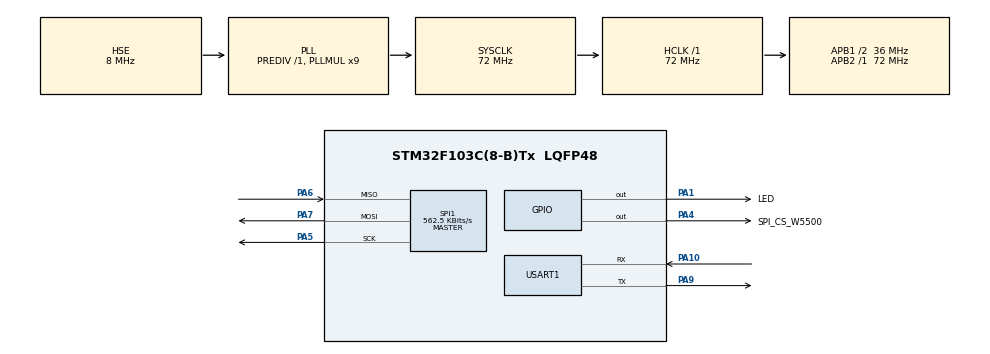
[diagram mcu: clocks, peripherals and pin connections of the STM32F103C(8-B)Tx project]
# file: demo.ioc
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Mcu.Family=STM32F1
Mcu.Name=STM32F103C(8-B)Tx
Mcu.Package=LQFP48
NVIC.PriorityGroup=NVIC_PRIORITYGROUP_4
PA1.GPIO_Label=LED
PA1.GPIO_PuPd=GPIO_PULLUP
PA1.GPIO_Speed=GPIO_SPEED_FREQ_HIGH
PA1.Signal=GPIO_Output
PA10.Mode=Asynchronous
PA10.Signal=USART1_RX
PA13.Mode=Serial_Wire
PA13.Signal=SYS_JTMS-SWDIO
PA14.Mode=Serial_Wire
PA14.Signal=SYS_JTCK-SWCLK
PA4.GPIO_Label=SPI_CS_W5500
PA4.GPIO_PuPd=GPIO_PULLUP
PA4.GPIO_Speed=GPIO_SPEED_FREQ_HIGH
PA4.Signal=GPIO_Output
PA5.GPIO_Mode=GPIO_MODE_AF_PP
PA5.GPIO_Speed=GPIO_SPEED_FREQ_HIGH
PA5.Mode=Full_Duplex_Master
PA5.Signal=SPI1_SCK
PA6.GPIO_PuPd=GPIO_PULLUP
PA6.Mode=Full_Duplex_Master
PA6.Signal=SPI1_MISO
PA7.GPIO_Mode=GPIO_MODE_AF_PP
PA7.GPIO_Speed=GPIO_SPEED_FREQ_HIGH
PA7.Mode=Full_Duplex_Master
PA7.Signal=SPI1_MOSI
PA9.Mode=Asynchronous
PA9.Signal=USART1_TX
PD0-OSC_IN.Mode=HSE-External-Oscillator
PD0-OSC_IN.Signal=RCC_OSC_IN
PD1-OSC_OUT.Mode=HSE-External-Oscillator
PD1-OSC_OUT.Signal=RCC_OSC_OUT
ProjectManager.HeapSize=0x800
ProjectManager.StackSize=0x800
ProjectManager.TargetToolchain=MDK-ARM V5
RCC.AHBFreq_Value=72000000
RCC.APB1CLKDivider=RCC_HCLK_DIV2
RCC.APB1Freq_Value=36000000
RCC.APB1TimFreq_Value=72000000
RCC.APB2Freq_Value=72000000
RCC.APB2TimFreq_Value=72000000
RCC.HCLKFreq_Value=72000000
RCC.PLLMUL=RCC_PLL_MUL9
RCC.PLLSourceVirtual=RCC_PLLSOURCE_HSE
RCC.SYSCLKFreq_VALUE=72000000
RCC.SYSCLKSource=RCC_SYSCLKSOURCE_PLLCLK
RCC.USBFreq_Value=48000000
RCC.USBPrescaler=RCC_USBCLKSOURCE_PLL_DIV1_5
SPI1.BaudRatePrescaler=SPI_BAUDRATEPRESCALER_128
SPI1.CLKPhase=SPI_PHASE_2EDGE
SPI1.CLKPolarity=SPI_POLARITY_HIGH
SPI1.CalculateBaudRate=562.5 KBits/s
SPI1.Direction=SPI_DIRECTION_2LINES
SPI1.Mode=SPI_MODE_MASTER
SPI1.VirtualType=VM_MASTER
USART1.VirtualMode=VM_ASYNC
board=custom

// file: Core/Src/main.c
/* USER CODE BEGIN Header */
/**
 ******************************************************************************
 * @file           : main.c
 * @brief          : Main program body
 ******************************************************************************
 * @attention
 *
 * Copyright (c) 2024 STMicroelectronics.
 * All rights reserved.
 *
 * This software is licensed under terms that can be found in the LICENSE file
 * in the root directory of this software component.
 * If no LICENSE file comes with this software, it is provided AS-IS.
 *
 ******************************************************************************
 */
/* USER CODE END Header */
#include "main.h"

/* USER CODE BEGIN Includes */
#include <stdio.h>
#include "string.h"
#include "socket.h"
#include "dhcp.h"

/* USER CODE END Includes */

/* USER CODE BEGIN PD */
#ifndef DATA_BUF_SIZE
#define DATA_BUF_SIZE 2048
#endif

#define LOOPBACK_MAIN_NOBLOCK 0
#define LOOPBACK_MODE         LOOPBACK_MAIN_NOBLOCK

/* USER CODE END PD */

SPI_HandleTypeDef hspi1;

UART_HandleTypeDef huart1;

/* USER CODE BEGIN PV */
uint8_t     destip[4] = {192, 168, 137, 1};
uint16_t    destport  = 3333;
uint8_t     rxbuf[DATA_BUF_SIZE]= {0};
uint8_t     txbuf[1024] = {0};
wiz_NetInfo gWIZNETINFO;
/* USER CODE END PV */

void        SystemClock_Config(void);
static void MX_GPIO_Init(void);
static void MX_USART1_UART_Init(void);
static void MX_SPI1_Init(void);

/* USER CODE BEGIN 0 */

void Load_Net_Parameters(void)
{
    gWIZNETINFO.gw[0] = 192;  // Gateway
    gWIZNETINFO.gw[1] = 168;
    gWIZNETINFO.gw[2] = 137;
    gWIZNETINFO.gw[3] = 1;

    gWIZNETINFO.sn[0] = 255;  // Mask
    gWIZNETINFO.sn[1] = 255;
    gWIZNETINFO.sn[2] = 255;
    gWIZNETINFO.sn[3] = 0;

    gWIZNETINFO.mac[0] = 0x0c;  // MAC
    gWIZNETINFO.mac[1] = 0x29;
    gWIZNETINFO.mac[2] = 0xab;
    gWIZNETINFO.mac[3] = 0x7c;
    gWIZNETINFO.mac[4] = 0x00;
    gWIZNETINFO.mac[5] = 0x01;

    gWIZNETINFO.ip[0] = 192;  // IP
    gWIZNETINFO.ip[1] = 168;
    gWIZNETINFO.ip[2] = 137;
    gWIZNETINFO.ip[3] = 204;

    gWIZNETINFO.dhcp = NETINFO_STATIC;
}

int32_t loopback_tcpc(uint8_t sn, uint8_t* buf, uint8_t* destip, uint16_t destport)
{
    int32_t  ret;  // return value for SOCK_ERRORs
    uint16_t size = 0, sentsize = 0;

    // Destination (TCP Server) IP info (will be connected)
    // >> loopback_tcpc() function parameter
    // >> Ex)
    //	uint8_t destip[4] = 	{192, 168, 0, 214};
    //	uint16_t destport = 	5000;

    // Port number for TCP client (will be increased)
    static uint16_t any_port = 50000;

    // Socket Status Transitions
    // Check the W5500 Socket n status register (Sn_SR, The 'Sn_SR' controlled by Sn_CR command or Packet send/recv status)
    switch (getSn_SR(sn))
    {
        case SOCK_ESTABLISHED:
            if (getSn_IR(sn) & Sn_IR_CON)
            {  // Socket n interrupt register mask; TCP CON interrupt = connection with peer is successful
#ifdef _LOOPBACK_DEBUG_
                printf("%d:Connected to - %d.%d.%d.%d : %d\r\n", sn, destip[0], destip[1], destip[2], destip[3], destport);
#endif
                setSn_IR(sn, Sn_IR_CON);  // this interrupt should be write the bit cleared to '1'
            }

            //////////////////////////////////////////////////////////////////////////////////////////////
            // Data Transaction Parts; Handle the [data receive and send] process
            //////////////////////////////////////////////////////////////////////////////////////////////
            if ((size = getSn_RX_RSR(sn)) > 0)
            {  // Sn_RX_RSR: Socket n Received Size Register, Receiving data length
                if (size > DATA_BUF_SIZE)
                {
                    size = DATA_BUF_SIZE;  // DATA_BUF_SIZE means user defined buffer size (array)
                }
                ret = recv(sn, buf, size);  // Data Receive process (H/W Rx socket buffer -> User's buffer)
                if (ret <= 0)
                {
                    return ret;  // If the received data length <= 0, receive failed and process end
                }
                size = (uint16_t)ret;

                // Data sentsize control
                sentsize = 0;
                while (size != sentsize)
                {
                    ret = send(sn, buf + sentsize, size - sentsize);  // Data send process (User's buffer -> Destination through H/W Tx socket buffer)
                    if (ret < 0)
                    {               // Send Error occurred (sent data length < 0)
                        close(sn);  // socket close
                        return ret;
                    }
                    sentsize += ret;  // Don't care SOCKERR_BUSY, because it is zero.
                }
            }
            //////////////////////////////////////////////////////////////////////////////////////////////
            break;

        case SOCK_CLOSE_WAIT:
#ifdef _LOOPBACK_DEBUG_
            printf("%d:CloseWait\r\n", sn);
#endif
            if ((ret = disconnect(sn)) != SOCK_OK)
            {
                return ret;
            }
#ifdef _LOOPBACK_DEBUG_
            printf("%d:Socket Closed\r\n", sn);
#endif
            break;

        case SOCK_INIT:
#ifdef _LOOPBACK_DEBUG_
            printf("%d:Try to connect to the %d.%d.%d.%d : %d\r\n", sn, destip[0], destip[1], destip[2], destip[3], destport);
#endif
            if ((ret = connect(sn, destip, destport)) != SOCK_OK)
            {
                return ret;  //	Try to TCP connect to the TCP server (destination)
            }
            break;

        case SOCK_CLOSED:
            close(sn);
            if ((ret = socket(sn, Sn_MR_TCP, any_port++, 0x00)) != sn)
            {
                if (any_port == 0xffff)
                {
                    any_port = 50000;
                }
                return ret;  // TCP socket open with 'any_port' port number
            }
#ifdef _LOOPBACK_DEBUG_
            printf("%d:TCP client loopback start\r\n", sn);
            printf("%d:Socket opened\r\n", sn);
#endif
            break;

        default:
            break;
    }
    return 1;
}

void network_init(void)
{
    wiz_NetTimeout gWIZNETTIME = {.retry_cnt = 3, .time_100us = 2000};
    ctlnetwork(CN_SET_TIMEOUT, (void*)&gWIZNETTIME);
    ctlnetwork(CN_GET_TIMEOUT, (void*)&gWIZNETTIME);
    printf("TIMEOUT: %d, %d\r\n", gWIZNETTIME.retry_cnt, gWIZNETTIME.time_100us);

    ctlnetwork(CN_SET_NETINFO, (void*)&gWIZNETINFO);
    ctlnetwork(CN_GET_NETINFO, (void*)&gWIZNETINFO);
    // Display Network Information
    uint8_t tmpstr[6];
    ctlwizchip(CW_GET_ID, (void*)tmpstr);
    printf("\r\n=== %s NET CONF ===\r\n", (char*)tmpstr);
    printf("MAC: %02X:%02X:%02X:%02X:%02X:%02X\r\n",
           gWIZNETINFO.mac[0], gWIZNETINFO.mac[1], gWIZNETINFO.mac[2], gWIZNETINFO.mac[3], gWIZNETINFO.mac[4], gWIZNETINFO.mac[5]);
    printf("SIP: %d.%d.%d.%d\r\n", gWIZNETINFO.ip[0], gWIZNETINFO.ip[1], gWIZNETINFO.ip[2], gWIZNETINFO.ip[3]);
    printf("GAR: %d.%d.%d.%d\r\n", gWIZNETINFO.gw[0], gWIZNETINFO.gw[1], gWIZNETINFO.gw[2], gWIZNETINFO.gw[3]);
    printf("SUB: %d.%d.%d.%d\r\n", gWIZNETINFO.sn[0], gWIZNETINFO.sn[1], gWIZNETINFO.sn[2], gWIZNETINFO.sn[3]);
    printf("DNS: %d.%d.%d.%d\r\n", gWIZNETINFO.dns[0], gWIZNETINFO.dns[1], gWIZNETINFO.dns[2], gWIZNETINFO.dns[3]);
    printf("======================\r\n");
}

void my_ip_assign(void)
{
    getIPfromDHCP(gWIZNETINFO.ip);
    getGWfromDHCP(gWIZNETINFO.gw);
    getSNfromDHCP(gWIZNETINFO.sn);
    getDNSfromDHCP(gWIZNETINFO.dns);
    gWIZNETINFO.dhcp = NETINFO_DHCP;
    /* Network initialization */
    network_init();  // apply from dhcp
    printf("DHCP LEASED TIME : %d Sec.\r\n", getDHCPLeasetime());
}

void my_ip_conflict(void)
{
    printf("CONFLICT IP from DHCP\r\n");
    // halt or reset or any...
    while (1);  // this example is halt.
}

/* USER CODE END 0 */

int main(void)
{

    /* MCU Configuration--------------------------------------------------------*/

    /* Reset of all peripherals, Initializes the Flash interface and the Systick. */
    HAL_Init();

    /* Configure the system clock */
    SystemClock_Config();

    /* Initialize all configured peripherals */
    MX_GPIO_Init();
    MX_USART1_UART_Init();
    MX_SPI1_Init();
    /* USER CODE BEGIN 2 */
    uint8_t memsize[2][8] = {
        {2, 2, 2, 2, 2, 2, 2, 2},
        {2, 2, 2, 2, 2, 2, 2, 2}
    };

    printf("WIZCHIP start.\r\n");

    register_wizchip();

    Load_Net_Parameters();

    /* WIZCHIP SOCKET Buffer initialize */
    if (ctlwizchip(0, (void*)memsize) == -1)
    {
        printf("WIZCHIP Initialized fail.\r\n");
        while (1);
    }

    printf("WIZCHIP Initialized ok.\r\n");

    setSHAR(gWIZNETINFO.mac);
    DHCP_init(0, txbuf);
    reg_dhcp_cbfunc(my_ip_assign, my_ip_assign, my_ip_conflict);

    printf("DHCP run.\r\n");

    uint8_t dhcp_ret = DHCP_run();

    while (dhcp_ret != DHCP_IP_LEASED)
    {
        printf("Waiting DHCP: %d\r\n", dhcp_ret);
        HAL_GPIO_TogglePin(LED_GPIO_Port, LED_Pin);
        HAL_Delay(500);
        dhcp_ret = DHCP_run();
    }

    printf("DHCP pass.\r\n");

    /* USER CODE END 2 */

    /* Infinite loop */
    /* USER CODE BEGIN WHILE */
    uint8_t ret = 0;

    ctlnetwork(CN_GET_NETINFO, (void*)&gWIZNETINFO);
    printf("MAC: %02X:%02X:%02X:%02X:%02X:%02X\r\n", gWIZNETINFO.mac[0], gWIZNETINFO.mac[1], gWIZNETINFO.mac[2],
           gWIZNETINFO.mac[3], gWIZNETINFO.mac[4], gWIZNETINFO.mac[5]);
    printf("SIP: %d.%d.%d.%d\r\n", gWIZNETINFO.ip[0], gWIZNETINFO.ip[1], gWIZNETINFO.ip[2], gWIZNETINFO.ip[3]);
    printf("GAR: %d.%d.%d.%d\r\n", gWIZNETINFO.gw[0], gWIZNETINFO.gw[1], gWIZNETINFO.gw[2], gWIZNETINFO.gw[3]);
    printf("SUB: %d.%d.%d.%d\r\n", gWIZNETINFO.sn[0], gWIZNETINFO.sn[1], gWIZNETINFO.sn[2], gWIZNETINFO.sn[3]);
    printf("DNS: %d.%d.%d.%d\r\n", gWIZNETINFO.dns[0], gWIZNETINFO.dns[1], gWIZNETINFO.dns[2], gWIZNETINFO.dns[3]);

    while (1)
    {
        HAL_Delay(500);
        int rev = loopback_tcpc(1, rxbuf, destip, destport);
        switch (rev)
        {
            case SOCK_OK:
                ctlnetwork(CN_GET_NETINFO, (void*)&gWIZNETINFO);
                sprintf((char*)txbuf, "Message from %d.%d.%d.%d\r\n", gWIZNETINFO.ip[0], gWIZNETINFO.ip[1], gWIZNETINFO.ip[2], gWIZNETINFO.ip[3]);
                send(1, txbuf, 30);
						#if 0
								// process ex buffer
                send(1, rxbuf, strlen(rxbuf));
						#endif
                break;
            case SOCKERR_TIMEOUT:
                printf("REV: TIMEOUT\r\n");
                break;
            case SOCKERR_SOCKSTATUS:
                printf("REV: SOCKSTATUS\r\n");
                break;
            default:
                printf("REV: SOCK ERROR\r\n");
                break;
        }
        /* USER CODE END WHILE */

    }
}

void SystemClock_Config(void)
{
    RCC_OscInitTypeDef RCC_OscInitStruct = {0};
    RCC_ClkInitTypeDef RCC_ClkInitStruct = {0};

    /** Initializes the RCC Oscillators according to the specified parameters
     * in the RCC_OscInitTypeDef structure.
     */
    RCC_OscInitStruct.OscillatorType = RCC_OSCILLATORTYPE_HSE;
    RCC_OscInitStruct.HSEState       = RCC_HSE_ON;
    RCC_OscInitStruct.HSEPredivValue = RCC_HSE_PREDIV_DIV1;
    RCC_OscInitStruct.HSIState       = RCC_HSI_ON;
    RCC_OscInitStruct.PLL.PLLState   = RCC_PLL_ON;
    RCC_OscInitStruct.PLL.PLLSource  = RCC_PLLSOURCE_HSE;
    RCC_OscInitStruct.PLL.PLLMUL     = RCC_PLL_MUL9;
    if (HAL_RCC_OscConfig(&RCC_OscInitStruct) != HAL_OK)
    {
        Error_Handler();
    }

    /** Initializes the CPU, AHB and APB buses clocks
     */
    RCC_ClkInitStruct.ClockType      = RCC_CLOCKTYPE_HCLK | RCC_CLOCKTYPE_SYSCLK | RCC_CLOCKTYPE_PCLK1 | RCC_CLOCKTYPE_PCLK2;
    RCC_ClkInitStruct.SYSCLKSource   = RCC_SYSCLKSOURCE_PLLCLK;
    RCC_ClkInitStruct.AHBCLKDivider  = RCC_SYSCLK_DIV1;
    RCC_ClkInitStruct.APB1CLKDivider = RCC_HCLK_DIV2;
    RCC_ClkInitStruct.APB2CLKDivider = RCC_HCLK_DIV1;

    if (HAL_RCC_ClockConfig(&RCC_ClkInitStruct, FLASH_LATENCY_2) != HAL_OK)
    {
        Error_Handler();
    }
}

static void MX_SPI1_Init(void)
{

    /* SPI1 parameter configuration*/
    hspi1.Instance               = SPI1;
    hspi1.Init.Mode              = SPI_MODE_MASTER;
    hspi1.Init.Direction         = SPI_DIRECTION_2LINES;
    hspi1.Init.DataSize          = SPI_DATASIZE_8BIT;
    hspi1.Init.CLKPolarity       = SPI_POLARITY_HIGH;
    hspi1.Init.CLKPhase          = SPI_PHASE_2EDGE;
    hspi1.Init.NSS               = SPI_NSS_SOFT;
    hspi1.Init.BaudRatePrescaler = SPI_BAUDRATEPRESCALER_8;
    hspi1.Init.FirstBit          = SPI_FIRSTBIT_MSB;
    hspi1.Init.TIMode            = SPI_TIMODE_DISABLE;
    hspi1.Init.CRCCalculation    = SPI_CRCCALCULATION_DISABLE;
    hspi1.Init.CRCPolynomial     = 10;
    if (HAL_SPI_Init(&hspi1) != HAL_OK)
    {
        Error_Handler();
    }
}

static void MX_USART1_UART_Init(void)
{

    huart1.Instance          = USART1;
    huart1.Init.BaudRate     = 115200;
    huart1.Init.WordLength   = UART_WORDLENGTH_8B;
    huart1.Init.StopBits     = UART_STOPBITS_1;
    huart1.Init.Parity       = UART_PARITY_NONE;
    huart1.Init.Mode         = UART_MODE_TX_RX;
    huart1.Init.HwFlowCtl    = UART_HWCONTROL_NONE;
    huart1.Init.OverSampling = UART_OVERSAMPLING_16;
    if (HAL_UART_Init(&huart1) != HAL_OK)
    {
        Error_Handler();
    }
}

static void MX_GPIO_Init(void)
{
    GPIO_InitTypeDef GPIO_InitStruct = {0};

    /* GPIO Ports Clock Enable */
    __HAL_RCC_GPIOD_CLK_ENABLE();
    __HAL_RCC_GPIOA_CLK_ENABLE();

    /*Configure GPIO pin Output Level */
    HAL_GPIO_WritePin(GPIOA, LED_Pin | SPI_CS_W5500_Pin, GPIO_PIN_RESET);

    /*Configure GPIO pins : LED_Pin SPI_CS_W5500_Pin */
    GPIO_InitStruct.Pin   = LED_Pin | SPI_CS_W5500_Pin;
    GPIO_InitStruct.Mode  = GPIO_MODE_OUTPUT_PP;
    GPIO_InitStruct.Pull  = GPIO_PULLUP;
    GPIO_InitStruct.Speed = GPIO_SPEED_FREQ_HIGH;
    HAL_GPIO_Init(GPIOA, &GPIO_InitStruct);

}

/* USER CODE BEGIN 4 */
int fputc(int ch, FILE* f)
{
    HAL_UART_Transmit(&huart1, (uint8_t*)&ch, 1, 0xFF);
    return ch;
}
/* USER CODE END 4 */

void Error_Handler(void)
{
    __disable_irq();
    while (1)
    {
    }
}
